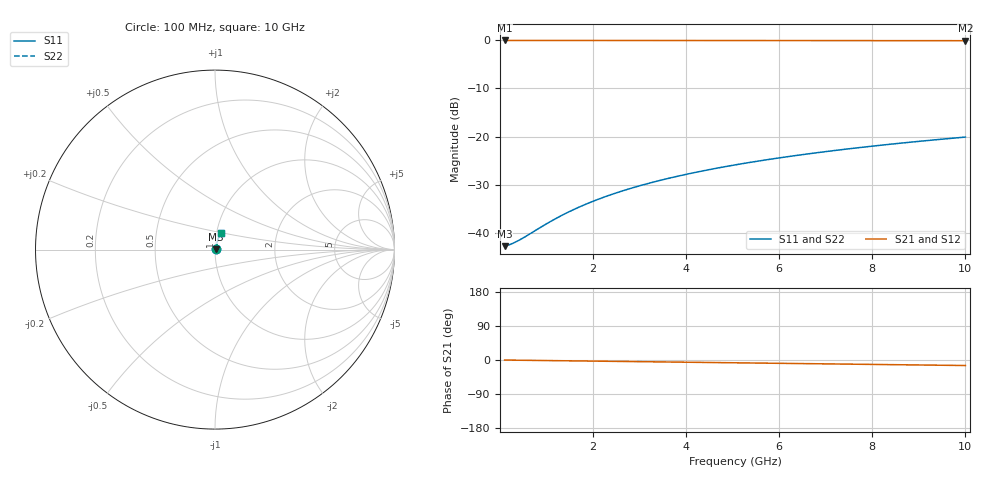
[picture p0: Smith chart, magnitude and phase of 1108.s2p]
# Hz S RI R 50.00
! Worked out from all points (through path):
!   100 points, 100 MHz to 10 GHz, reference 50 ohm
!   highest |S21| = -0.06 dB at 100 MHz (marker M1); lowest = -0.1 dB at 10 GHz (marker M2)
!   group delay of S21, straight-line fit = 4.04 ps
!   lowest |S11| = -42.7 dB at 100 MHz (marker M3), VSWR 1.01, Z = 50.7 + j0.0997 ohm
!   |S11| at or under -10 dB: start of sweep to end of sweep
!   |S22| runs from -42.7 to -20.1 dB; largest |S21 - S12| = 0
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1e8  0.00726 0.000982  0.9927 -0.00253  0.9927 -0.00253  0.00726 0.000982
2e8  0.00732 0.00196  0.9927 -0.00506  0.9927 -0.00506  0.00732 0.00196
3e8  0.00736 0.00295  0.9926 -0.00759  0.9926 -0.00759  0.00736 0.00295
4e8  0.00741 0.00393  0.9926 -0.0101  0.9926 -0.0101  0.00741 0.00393
5e8  0.00746 0.00491  0.9925 -0.0126  0.9925 -0.0126  0.00746 0.00491
1e9  0.00773 0.00981  0.9921 -0.0253  0.9921 -0.0253  0.00773 0.00981
1.2e9  0.00787 0.0118  0.9919 -0.0303  0.9919 -0.0303  0.00787 0.0118
1.5e9  0.00811 0.0147  0.9916 -0.0379  0.9916 -0.0379  0.00811 0.0147
1.8e9  0.00838 0.0176  0.9912 -0.0455  0.9912 -0.0455  0.00838 0.0176
2.1e9  0.00871 0.0206  0.9907 -0.0531  0.9907 -0.0531  0.00871 0.0206
2.5e9  0.0092 0.0245  0.99 -0.0631  0.99 -0.0631  0.0092 0.0245
2.9e9  0.00977 0.0283  0.9892 -0.0732  0.9892 -0.0732  0.00977 0.0283
3.4e9  0.0106 0.0332  0.988 -0.0858  0.988 -0.0858  0.0106 0.0332
3.8e9  0.0113 0.037  0.9869 -0.0958  0.9869 -0.0958  0.0113 0.037
4.2e9  0.0122 0.0408  0.9857 -0.1058  0.9857 -0.1058  0.0122 0.0408
4.6e9  0.0131 0.0447  0.9843 -0.1158  0.9843 -0.1158  0.0131 0.0447
5.1e9  0.0143 0.0494  0.9825 -0.1283  0.9825 -0.1283  0.0143 0.0494
5.9e9  0.0165 0.0569  0.9792 -0.1482  0.9792 -0.1482  0.0165 0.0569
6.7e9  0.019 0.0643  0.9755 -0.1679  0.9755 -0.1679  0.019 0.0643
7.5e9  0.0218 0.0716  0.9713 -0.1876  0.9713 -0.1876  0.0218 0.0716
8.4e9  0.0253 0.0796  0.966 -0.2095  0.966 -0.2095  0.0253 0.0796
1e10  0.0325 0.0935  0.9553 -0.2481  0.9553 -0.2481  0.0325 0.0935
